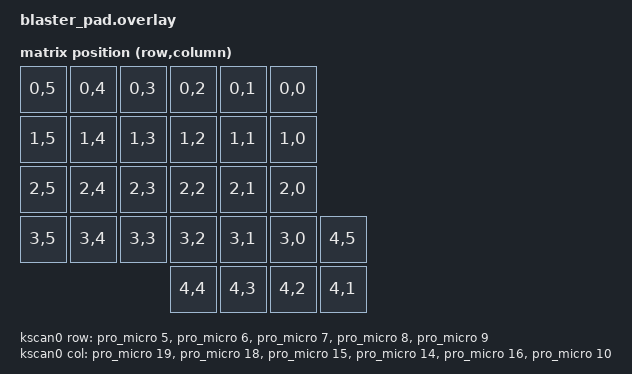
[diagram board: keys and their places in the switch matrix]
#include <dt-bindings/zmk/matrix_transform.h>

/ {
    chosen {
        zmk,kscan = &kscan0;
        zmk,matrix_transform = &default_transform;
    };

    kscan0: kscan_0 {
        compatible = "zmk,kscan-gpio-matrix";
        diode-direction = "col2row";

        col-gpios
            = <&pro_micro 19 GPIO_ACTIVE_HIGH> // col 0
            , <&pro_micro 18 GPIO_ACTIVE_HIGH> // col 1
            , <&pro_micro 15 GPIO_ACTIVE_HIGH> // col 2
            , <&pro_micro 14 GPIO_ACTIVE_HIGH> // col 3
            , <&pro_micro 16 GPIO_ACTIVE_HIGH> // col 4
            , <&pro_micro 10 GPIO_ACTIVE_HIGH> // col 5
            ;

        row-gpios
            = <&pro_micro 5 (GPIO_ACTIVE_HIGH | GPIO_PULL_DOWN)> // row 0
            , <&pro_micro 6 (GPIO_ACTIVE_HIGH | GPIO_PULL_DOWN)> // row 1
            , <&pro_micro 7 (GPIO_ACTIVE_HIGH | GPIO_PULL_DOWN)> // row 2
            , <&pro_micro 8 (GPIO_ACTIVE_HIGH | GPIO_PULL_DOWN)> // row 3
            , <&pro_micro 9 (GPIO_ACTIVE_HIGH | GPIO_PULL_DOWN)> // row 4
            ;
    };

    default_transform: keymap_transform_0 {
        compatible = "zmk,matrix-transform";
        columns = <6>;
        rows = <5>;
        // ------------------------------------------------------------
        // |  ESC   |    1    |    2    |    3    |    4    |    5    |
        // ------------------------------------------------------------
        // |  TAB   |    Q    |    W    |    E    |    R    |    T    |
        // ------------------------------------------------------------
        // |  CTRL  |    A    |    S    |    D    |    F    |    G    |
        // ----------------------------------------------------------------------
        // |  SHFT  |    Z    |    X    |    C    |    V    |    B    |         |
        // ----------------------------------------------------------------------
        //                              |  LOWER  |  SPACE  |  ENTER  |  RAISE  |
        //                              -----------------------------------------
        map = <
            RC(0,5)   RC(0,4)   RC(0,3)   RC(0,2)   RC(0,1)   RC(0,0)
            RC(1,5)   RC(1,4)   RC(1,3)   RC(1,2)   RC(1,1)   RC(1,0)
            RC(2,5)   RC(2,4)   RC(2,3)   RC(2,2)   RC(2,1)   RC(2,0)
            RC(3,5)   RC(3,4)   RC(3,3)   RC(3,2)   RC(3,1)   RC(3,0)   RC(4,5)
                                           RC(4,4)   RC(4,3)   RC(4,2)   RC(4,1)
        >;
    };
};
